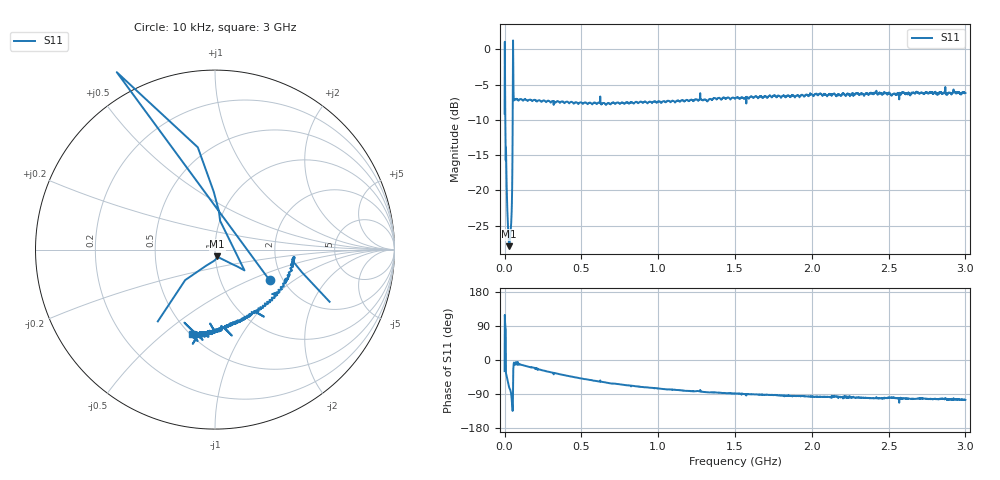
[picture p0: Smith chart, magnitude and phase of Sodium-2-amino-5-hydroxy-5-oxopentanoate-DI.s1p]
# HZ S RI R 50
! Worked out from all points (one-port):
!   2020 points, 10 kHz to 3 GHz, reference 50 ohm
!   lowest |S11| = -27.9 dB at 29.73 MHz (marker M1), VSWR 1.08, Z = 51.1 - j3.92 ohm
!   |S11| at or under -10 dB: 4.552 MHz to 52.57 MHz (48.02 MHz wide, 168 % of centre)
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10000  0.3047 -0.1715
7439395  0.0285 0.1606
1.635467e7  0.054 -0.06
1.784055e7  0.0452 -0.0559
2.081231e7  0.0324 -0.0494
2.526994e7  0.0198 -0.0429
2.972758e7  0.0119 -0.0384
3.418522e7  0.0106 -0.0429
3.715698e7  0.00883 -0.0473
3.864285e7  0.00737 -0.0496
4.012873e7  0.00512 -0.0527
4.161461e7  0.00321 -0.0553
5.64734e7  0.6384 -0.2907
6.39028e7  0.4322 -0.0585
6.836043e7  0.4282 -0.096
6.984631e7  0.4386 -0.0544
7.133219e7  0.4402 -0.0542
7.430395e7  0.438 -0.0696
2.466659e8  0.3827 -0.197
3.759374e8  0.3307 -0.2693
7.503789e8  0.1799 -0.3673
1.126306e9  0.0821 -0.4249
1.500748e9  0.0141 -0.446
1.875189e9  -0.043 -0.4684
2.251117e9  -0.0678 -0.4656
2.526004e9  -0.0804 -0.4736
2.625558e9  -0.101 -0.4806
3e9  -0.1286 -0.4727
